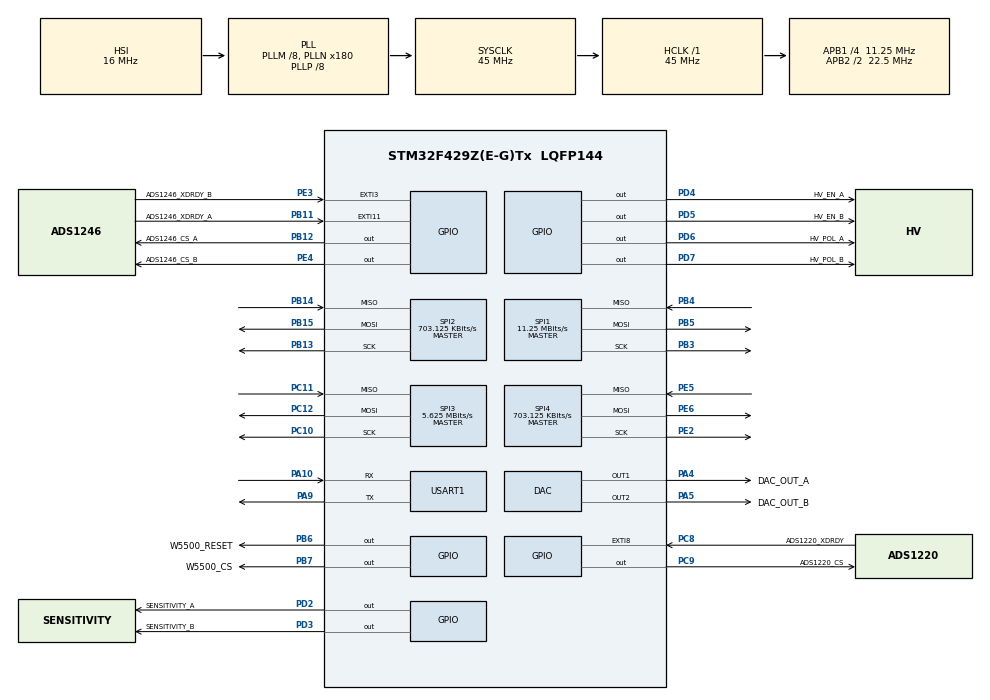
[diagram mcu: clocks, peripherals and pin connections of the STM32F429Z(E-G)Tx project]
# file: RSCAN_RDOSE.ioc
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Dma.Request0=SPI2_RX
Dma.Request1=SPI3_RX
Dma.Request2=SPI4_RX
Dma.Request3=SPI3_TX
Dma.Request4=SPI2_TX
Dma.Request5=SPI4_TX
Dma.SPI2_RX.0.Direction=DMA_PERIPH_TO_MEMORY
Dma.SPI2_RX.0.FIFOMode=DMA_FIFOMODE_DISABLE
Dma.SPI2_RX.0.Instance=DMA1_Stream3
Dma.SPI2_RX.0.MemDataAlignment=DMA_MDATAALIGN_BYTE
Dma.SPI2_RX.0.MemInc=DMA_MINC_ENABLE
Dma.SPI2_RX.0.Mode=DMA_NORMAL
Dma.SPI2_RX.0.PeriphDataAlignment=DMA_PDATAALIGN_BYTE
Dma.SPI2_RX.0.PeriphInc=DMA_PINC_DISABLE
Dma.SPI2_RX.0.Priority=DMA_PRIORITY_HIGH
Dma.SPI2_TX.4.Direction=DMA_MEMORY_TO_PERIPH
Dma.SPI2_TX.4.FIFOMode=DMA_FIFOMODE_DISABLE
Dma.SPI2_TX.4.Instance=DMA1_Stream4
Dma.SPI2_TX.4.MemDataAlignment=DMA_MDATAALIGN_BYTE
Dma.SPI2_TX.4.MemInc=DMA_MINC_ENABLE
Dma.SPI2_TX.4.Mode=DMA_NORMAL
Dma.SPI2_TX.4.PeriphDataAlignment=DMA_PDATAALIGN_BYTE
Dma.SPI2_TX.4.PeriphInc=DMA_PINC_DISABLE
Dma.SPI2_TX.4.Priority=DMA_PRIORITY_HIGH
Dma.SPI3_RX.1.Direction=DMA_PERIPH_TO_MEMORY
Dma.SPI3_RX.1.FIFOMode=DMA_FIFOMODE_DISABLE
Dma.SPI3_RX.1.Instance=DMA1_Stream0
Dma.SPI3_RX.1.MemDataAlignment=DMA_MDATAALIGN_BYTE
Dma.SPI3_RX.1.MemInc=DMA_MINC_ENABLE
Dma.SPI3_RX.1.Mode=DMA_NORMAL
Dma.SPI3_RX.1.PeriphDataAlignment=DMA_PDATAALIGN_BYTE
Dma.SPI3_RX.1.PeriphInc=DMA_PINC_DISABLE
Dma.SPI3_RX.1.Priority=DMA_PRIORITY_LOW
Dma.SPI3_TX.3.Direction=DMA_MEMORY_TO_PERIPH
Dma.SPI3_TX.3.FIFOMode=DMA_FIFOMODE_DISABLE
Dma.SPI3_TX.3.Instance=DMA1_Stream5
Dma.SPI3_TX.3.MemDataAlignment=DMA_MDATAALIGN_BYTE
Dma.SPI3_TX.3.MemInc=DMA_MINC_ENABLE
Dma.SPI3_TX.3.Mode=DMA_NORMAL
Dma.SPI3_TX.3.PeriphDataAlignment=DMA_PDATAALIGN_BYTE
Dma.SPI3_TX.3.PeriphInc=DMA_PINC_DISABLE
Dma.SPI3_TX.3.Priority=DMA_PRIORITY_LOW
Dma.SPI4_RX.2.Direction=DMA_PERIPH_TO_MEMORY
Dma.SPI4_RX.2.FIFOMode=DMA_FIFOMODE_DISABLE
Dma.SPI4_RX.2.Instance=DMA2_Stream0
Dma.SPI4_RX.2.MemDataAlignment=DMA_MDATAALIGN_BYTE
Dma.SPI4_RX.2.MemInc=DMA_MINC_ENABLE
Dma.SPI4_RX.2.Mode=DMA_NORMAL
Dma.SPI4_RX.2.PeriphDataAlignment=DMA_PDATAALIGN_BYTE
Dma.SPI4_RX.2.PeriphInc=DMA_PINC_DISABLE
Dma.SPI4_RX.2.Priority=DMA_PRIORITY_HIGH
Dma.SPI4_TX.5.Direction=DMA_MEMORY_TO_PERIPH
Dma.SPI4_TX.5.FIFOMode=DMA_FIFOMODE_DISABLE
Dma.SPI4_TX.5.Instance=DMA2_Stream1
Dma.SPI4_TX.5.MemDataAlignment=DMA_MDATAALIGN_BYTE
Dma.SPI4_TX.5.MemInc=DMA_MINC_ENABLE
Dma.SPI4_TX.5.Mode=DMA_NORMAL
Dma.SPI4_TX.5.PeriphDataAlignment=DMA_PDATAALIGN_BYTE
Dma.SPI4_TX.5.PeriphInc=DMA_PINC_DISABLE
Dma.SPI4_TX.5.Priority=DMA_PRIORITY_HIGH
FREERTOS.INCLUDE_vTaskDelayUntil=1
FREERTOS.Tasks01=defaultTask,0,1024,StartDefaultTask,Default,NULL,Dynamic,NULL,NULL;voltageTask,-1,1024,StartVoltageTask,Default,NULL,Dynamic,NULL,NULL
FREERTOS.configMINIMAL_STACK_SIZE=1024
FREERTOS.configUSE_NEWLIB_REENTRANT=1
Mcu.Family=STM32F4
Mcu.Name=STM32F429Z(E-G)Tx
Mcu.Package=LQFP144
NVIC.DMA1_Stream0_IRQn=true\:5\:0\:false\:false\:true\:true\:false\:true\:true
NVIC.DMA1_Stream3_IRQn=true\:5\:0\:false\:false\:true\:true\:false\:true\:true
NVIC.DMA1_Stream4_IRQn=true\:5\:0\:false\:false\:true\:true\:false\:true\:true
NVIC.DMA1_Stream5_IRQn=true\:5\:0\:false\:false\:true\:true\:false\:true\:true
NVIC.DMA2_Stream0_IRQn=true\:5\:0\:false\:false\:true\:true\:false\:true\:true
NVIC.DMA2_Stream1_IRQn=true\:5\:0\:false\:false\:true\:true\:false\:true\:true
NVIC.EXTI15_10_IRQn=true\:5\:0\:true\:false\:true\:true\:true\:true\:true
NVIC.EXTI3_IRQn=true\:5\:0\:true\:false\:true\:true\:true\:true\:true
NVIC.EXTI9_5_IRQn=true\:6\:0\:true\:false\:true\:true\:true\:true\:true
NVIC.PriorityGroup=NVIC_PRIORITYGROUP_4
NVIC.SPI2_IRQn=true\:5\:0\:true\:false\:true\:true\:true\:true\:true
NVIC.SPI3_IRQn=true\:5\:0\:false\:false\:true\:true\:true\:true\:true
NVIC.SPI4_IRQn=true\:5\:0\:true\:false\:true\:true\:true\:true\:true
NVIC.TIM1_UP_TIM10_IRQn=true\:15\:0\:false\:false\:true\:false\:false\:true\:true
NVIC.TimeBase=TIM1_UP_TIM10_IRQn
NVIC.TimeBaseIP=TIM1
NVIC.USART1_IRQn=true\:5\:0\:false\:false\:true\:true\:true\:true\:true
PA10.Mode=Asynchronous
PA10.Signal=USART1_RX
PA4.GPIO_Label=DAC_OUT_A
PA4.Signal=COMP_DAC1_group
PA5.GPIO_Label=DAC_OUT_B
PA5.Signal=COMP_DAC2_group
PA9.Mode=Asynchronous
PA9.Signal=USART1_TX
PB11.GPIO_Label=ADS1246_XDRDY_A
PB11.GPIO_ModeDefaultEXTI=GPIO_MODE_IT_FALLING
PB11.Signal=GPXTI11
PB12.GPIO_Label=ADS1246_CS_A
PB12.GPIO_PuPd=GPIO_PULLUP
PB12.GPIO_Speed=GPIO_SPEED_FREQ_HIGH
PB12.PinState=GPIO_PIN_SET
PB12.Signal=GPIO_Output
PB13.Mode=Full_Duplex_Master
PB13.Signal=SPI2_SCK
PB14.Mode=Full_Duplex_Master
PB14.Signal=SPI2_MISO
PB15.Mode=Full_Duplex_Master
PB15.Signal=SPI2_MOSI
PB3.Mode=Full_Duplex_Master
PB3.Signal=SPI1_SCK
PB4.Mode=Full_Duplex_Master
PB4.Signal=SPI1_MISO
PB5.Mode=Full_Duplex_Master
PB5.Signal=SPI1_MOSI
PB6.GPIO_Label=W5500_RESET
PB6.GPIO_ModeDefaultOutputPP=GPIO_MODE_OUTPUT_PP
PB6.GPIO_PuPd=GPIO_NOPULL
PB6.GPIO_Speed=GPIO_SPEED_FREQ_HIGH
PB6.PinState=GPIO_PIN_RESET
PB6.Signal=GPIO_Output
PB7.GPIO_Label=W5500_CS
PB7.GPIO_PuPd=GPIO_NOPULL
PB7.GPIO_Speed=GPIO_SPEED_FREQ_HIGH
PB7.PinState=GPIO_PIN_SET
PB7.Signal=GPIO_Output
PC10.Mode=Full_Duplex_Master
PC10.Signal=SPI3_SCK
PC11.Mode=Full_Duplex_Master
PC11.Signal=SPI3_MISO
PC12.Mode=Full_Duplex_Master
PC12.Signal=SPI3_MOSI
PC8.GPIO_Label=ADS1220_XDRDY
PC8.GPIO_ModeDefaultEXTI=GPIO_MODE_IT_FALLING
PC8.Signal=GPXTI8
PC9.GPIO_Label=ADS1220_CS
PC9.GPIO_PuPd=GPIO_PULLUP
PC9.GPIO_Speed=GPIO_SPEED_FREQ_HIGH
PC9.PinState=GPIO_PIN_SET
PC9.Signal=GPIO_Output
PD2.GPIO_Label=SENSITIVITY_A
PD2.GPIO_Speed=GPIO_SPEED_FREQ_HIGH
PD2.Signal=GPIO_Output
PD3.GPIO_Label=SENSITIVITY_B
PD3.GPIO_Speed=GPIO_SPEED_FREQ_HIGH
PD3.Signal=GPIO_Output
PD4.GPIO_Label=HV_EN_A
PD4.GPIO_Speed=GPIO_SPEED_FREQ_HIGH
PD4.Signal=GPIO_Output
PD5.GPIO_Label=HV_EN_B
PD5.GPIO_Speed=GPIO_SPEED_FREQ_HIGH
PD5.Signal=GPIO_Output
PD6.GPIO_Label=HV_POL_A
PD6.GPIO_Speed=GPIO_SPEED_FREQ_HIGH
PD6.PinState=GPIO_PIN_SET
PD6.Signal=GPIO_Output
PD7.GPIO_Label=HV_POL_B
PD7.GPIO_Speed=GPIO_SPEED_FREQ_HIGH
PD7.PinState=GPIO_PIN_SET
PD7.Signal=GPIO_Output
PE2.Mode=Full_Duplex_Master
PE2.Signal=SPI4_SCK
PE3.GPIO_Label=ADS1246_XDRDY_B
PE3.GPIO_ModeDefaultEXTI=GPIO_MODE_IT_FALLING
PE3.Signal=GPXTI3
PE4.GPIO_Label=ADS1246_CS_B
PE4.GPIO_PuPd=GPIO_PULLUP
PE4.GPIO_Speed=GPIO_SPEED_FREQ_HIGH
PE4.PinState=GPIO_PIN_SET
PE4.Signal=GPIO_Output
PE5.Mode=Full_Duplex_Master
PE5.Signal=SPI4_MISO
PE6.Mode=Full_Duplex_Master
PE6.Signal=SPI4_MOSI
ProjectManager.HeapSize=0x200
ProjectManager.StackSize=0x400
ProjectManager.TargetToolchain=STM32CubeIDE
RCC.48MHZClocksFreq_Value=90000000
RCC.AHBFreq_Value=45000000
RCC.APB1CLKDivider=RCC_HCLK_DIV4
RCC.APB1Freq_Value=11250000
RCC.APB1TimFreq_Value=22500000
RCC.APB2CLKDivider=RCC_HCLK_DIV2
RCC.APB2Freq_Value=22500000
RCC.APB2TimFreq_Value=45000000
RCC.CortexFreq_Value=45000000
RCC.HCLKFreq_Value=45000000
RCC.HSE_VALUE=25000000
RCC.HSI_VALUE=16000000
RCC.LSE_VALUE=32768
RCC.PLLM=8
RCC.PLLN=180
RCC.PLLP=RCC_PLLP_DIV8
RCC.SYSCLKFreq_VALUE=45000000
RCC.SYSCLKSource=RCC_SYSCLKSOURCE_PLLCLK
RCC.VCOOutputFreq_Value=360000000
SH.COMP_DAC1_group.0=DAC_OUT1,DAC_OUT1
SH.COMP_DAC2_group.0=DAC_OUT2,DAC_OUT2
SPI1.BaudRatePrescaler=SPI_BAUDRATEPRESCALER_2
SPI1.CalculateBaudRate=11.25 MBits/s
SPI1.Direction=SPI_DIRECTION_2LINES
SPI1.Mode=SPI_MODE_MASTER
SPI1.VirtualType=VM_MASTER
SPI2.BaudRatePrescaler=SPI_BAUDRATEPRESCALER_16
SPI2.CLKPhase=SPI_PHASE_2EDGE
SPI2.CLKPolarity=SPI_POLARITY_LOW
SPI2.CalculateBaudRate=703.125 KBits/s
SPI2.Direction=SPI_DIRECTION_2LINES
SPI2.Mode=SPI_MODE_MASTER
SPI2.VirtualType=VM_MASTER
SPI3.BaudRatePrescaler=SPI_BAUDRATEPRESCALER_2
SPI3.CLKPhase=SPI_PHASE_2EDGE
SPI3.CLKPolarity=SPI_POLARITY_LOW
SPI3.CalculateBaudRate=5.625 MBits/s
SPI3.Direction=SPI_DIRECTION_2LINES
SPI3.Mode=SPI_MODE_MASTER
SPI3.VirtualType=VM_MASTER
SPI4.BaudRatePrescaler=SPI_BAUDRATEPRESCALER_32
SPI4.CLKPhase=SPI_PHASE_2EDGE
SPI4.CLKPolarity=SPI_POLARITY_LOW
SPI4.CalculateBaudRate=703.125 KBits/s
SPI4.Direction=SPI_DIRECTION_2LINES
SPI4.Mode=SPI_MODE_MASTER
SPI4.VirtualType=VM_MASTER
USART1.VirtualMode=VM_ASYNC
VP_FREERTOS_VS_CMSIS_V1.Mode=CMSIS_V1
VP_SYS_VS_tim1.Mode=TIM1
board=custom

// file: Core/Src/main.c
/* USER CODE BEGIN Header */
/**
  ******************************************************************************
  * @file           : main.c
  * @brief          : Main program body
  ******************************************************************************
  * @attention
  *
  * Copyright (c) 2026 STMicroelectronics.
  * All rights reserved.
  *
  * This software is licensed under terms that can be found in the LICENSE file
  * in the root directory of this software component.
  * If no LICENSE file comes with this software, it is provided AS-IS.
  *
  ******************************************************************************
  */
/* USER CODE END Header */
#include "main.h"
#include "cmsis_os.h"

/* USER CODE BEGIN Includes */
#include "w5500_task.h"
#include "hv_task.h"
#include "signal_task.h"
#include "uart_rx_handler.h"
/* USER CODE END Includes */

/* USER CODE BEGIN PTD */

// todo
// 1) w5500 and ads1246 sync
// 2) ads1246 dma???
// 3) uart модуль дописать и отладить (как в RSCAN 1DWT)

/* USER CODE END PTD */

DAC_HandleTypeDef hdac;

SPI_HandleTypeDef hspi1;
SPI_HandleTypeDef hspi2;
SPI_HandleTypeDef hspi3;
SPI_HandleTypeDef hspi4;
DMA_HandleTypeDef hdma_spi2_rx;
DMA_HandleTypeDef hdma_spi2_tx;
DMA_HandleTypeDef hdma_spi3_rx;
DMA_HandleTypeDef hdma_spi3_tx;
DMA_HandleTypeDef hdma_spi4_rx;
DMA_HandleTypeDef hdma_spi4_tx;

UART_HandleTypeDef huart1;

osThreadId defaultTaskHandle;
osThreadId voltageTaskHandle;

void SystemClock_Config(void);
static void MX_GPIO_Init(void);
static void MX_DMA_Init(void);
static void MX_DAC_Init(void);
static void MX_SPI1_Init(void);
static void MX_SPI2_Init(void);
static void MX_SPI3_Init(void);
static void MX_SPI4_Init(void);
static void MX_USART1_UART_Init(void);
void StartDefaultTask(void const * argument);
void StartVoltageTask(void const * argument);

/* USER CODE BEGIN PFP */
void HAL_GPIO_EXTI_Callback(uint16_t GPIO_Pin)
{
	hv_adc_xdrdy_callback(GPIO_Pin);
	signal_adc_xdrdy_callback(GPIO_Pin);
}

void HAL_SPI_TxRxCpltCallback(SPI_HandleTypeDef *hspi)
{
	signal_adc_spi_dma_callback(hspi);
}
/* USER CODE END PFP */

int main(void)
{

  /* MCU Configuration--------------------------------------------------------*/

  /* Reset of all peripherals, Initializes the Flash interface and the Systick. */
  HAL_Init();

  /* Configure the system clock */
  SystemClock_Config();

  /* Initialize all configured peripherals */
  MX_GPIO_Init();
  MX_DMA_Init();
  MX_DAC_Init();
  MX_SPI1_Init();
  MX_SPI2_Init();
  MX_SPI3_Init();
  MX_SPI4_Init();
  MX_USART1_UART_Init();

  /* Create the thread(s) */
  /* definition and creation of defaultTask */
  osThreadDef(defaultTask, StartDefaultTask, osPriorityNormal, 0, 1024);
  defaultTaskHandle = osThreadCreate(osThread(defaultTask), NULL);

  /* definition and creation of voltageTask */
  osThreadDef(voltageTask, StartVoltageTask, osPriorityBelowNormal, 0, 1024);
  voltageTaskHandle = osThreadCreate(osThread(voltageTask), NULL);

  /* Start scheduler */
  osKernelStart();

  /* We should never get here as control is now taken by the scheduler */
  /* Infinite loop */
  while (1)
  {

  }
}

void SystemClock_Config(void)
{
  RCC_OscInitTypeDef RCC_OscInitStruct = {0};
  RCC_ClkInitTypeDef RCC_ClkInitStruct = {0};

  /** Configure the main internal regulator output voltage
  */
  __HAL_RCC_PWR_CLK_ENABLE();
  __HAL_PWR_VOLTAGESCALING_CONFIG(PWR_REGULATOR_VOLTAGE_SCALE3);

  /** Initializes the RCC Oscillators according to the specified parameters
  * in the RCC_OscInitTypeDef structure.
  */
  RCC_OscInitStruct.OscillatorType = RCC_OSCILLATORTYPE_HSI;
  RCC_OscInitStruct.HSIState = RCC_HSI_ON;
  RCC_OscInitStruct.HSICalibrationValue = RCC_HSICALIBRATION_DEFAULT;
  RCC_OscInitStruct.PLL.PLLState = RCC_PLL_ON;
  RCC_OscInitStruct.PLL.PLLSource = RCC_PLLSOURCE_HSI;
  RCC_OscInitStruct.PLL.PLLM = 8;
  RCC_OscInitStruct.PLL.PLLN = 180;
  RCC_OscInitStruct.PLL.PLLP = RCC_PLLP_DIV8;
  RCC_OscInitStruct.PLL.PLLQ = 4;
  if (HAL_RCC_OscConfig(&RCC_OscInitStruct) != HAL_OK)
  {
    Error_Handler();
  }

  /** Initializes the CPU, AHB and APB buses clocks
  */
  RCC_ClkInitStruct.ClockType = RCC_CLOCKTYPE_HCLK|RCC_CLOCKTYPE_SYSCLK
                              |RCC_CLOCKTYPE_PCLK1|RCC_CLOCKTYPE_PCLK2;
  RCC_ClkInitStruct.SYSCLKSource = RCC_SYSCLKSOURCE_PLLCLK;
  RCC_ClkInitStruct.AHBCLKDivider = RCC_SYSCLK_DIV1;
  RCC_ClkInitStruct.APB1CLKDivider = RCC_HCLK_DIV4;
  RCC_ClkInitStruct.APB2CLKDivider = RCC_HCLK_DIV2;

  if (HAL_RCC_ClockConfig(&RCC_ClkInitStruct, FLASH_LATENCY_1) != HAL_OK)
  {
    Error_Handler();
  }
}

static void MX_DAC_Init(void)
{

  DAC_ChannelConfTypeDef sConfig = {0};

  /** DAC Initialization
  */
  hdac.Instance = DAC;
  if (HAL_DAC_Init(&hdac) != HAL_OK)
  {
    Error_Handler();
  }

  /** DAC channel OUT1 config
  */
  sConfig.DAC_Trigger = DAC_TRIGGER_NONE;
  sConfig.DAC_OutputBuffer = DAC_OUTPUTBUFFER_ENABLE;
  if (HAL_DAC_ConfigChannel(&hdac, &sConfig, DAC_CHANNEL_1) != HAL_OK)
  {
    Error_Handler();
  }

  /** DAC channel OUT2 config
  */
  if (HAL_DAC_ConfigChannel(&hdac, &sConfig, DAC_CHANNEL_2) != HAL_OK)
  {
    Error_Handler();
  }

}

static void MX_SPI1_Init(void)
{

  /* SPI1 parameter configuration*/
  hspi1.Instance = SPI1;
  hspi1.Init.Mode = SPI_MODE_MASTER;
  hspi1.Init.Direction = SPI_DIRECTION_2LINES;
  hspi1.Init.DataSize = SPI_DATASIZE_8BIT;
  hspi1.Init.CLKPolarity = SPI_POLARITY_LOW;
  hspi1.Init.CLKPhase = SPI_PHASE_1EDGE;
  hspi1.Init.NSS = SPI_NSS_SOFT;
  hspi1.Init.BaudRatePrescaler = SPI_BAUDRATEPRESCALER_2;
  hspi1.Init.FirstBit = SPI_FIRSTBIT_MSB;
  hspi1.Init.TIMode = SPI_TIMODE_DISABLE;
  hspi1.Init.CRCCalculation = SPI_CRCCALCULATION_DISABLE;
  hspi1.Init.CRCPolynomial = 10;
  if (HAL_SPI_Init(&hspi1) != HAL_OK)
  {
    Error_Handler();
  }

}

static void MX_SPI2_Init(void)
{

  /* SPI2 parameter configuration*/
  hspi2.Instance = SPI2;
  hspi2.Init.Mode = SPI_MODE_MASTER;
  hspi2.Init.Direction = SPI_DIRECTION_2LINES;
  hspi2.Init.DataSize = SPI_DATASIZE_8BIT;
  hspi2.Init.CLKPolarity = SPI_POLARITY_LOW;
  hspi2.Init.CLKPhase = SPI_PHASE_2EDGE;
  hspi2.Init.NSS = SPI_NSS_SOFT;
  hspi2.Init.BaudRatePrescaler = SPI_BAUDRATEPRESCALER_16;
  hspi2.Init.FirstBit = SPI_FIRSTBIT_MSB;
  hspi2.Init.TIMode = SPI_TIMODE_DISABLE;
  hspi2.Init.CRCCalculation = SPI_CRCCALCULATION_DISABLE;
  hspi2.Init.CRCPolynomial = 10;
  if (HAL_SPI_Init(&hspi2) != HAL_OK)
  {
    Error_Handler();
  }

}

static void MX_SPI3_Init(void)
{

  /* SPI3 parameter configuration*/
  hspi3.Instance = SPI3;
  hspi3.Init.Mode = SPI_MODE_MASTER;
  hspi3.Init.Direction = SPI_DIRECTION_2LINES;
  hspi3.Init.DataSize = SPI_DATASIZE_8BIT;
  hspi3.Init.CLKPolarity = SPI_POLARITY_LOW;
  hspi3.Init.CLKPhase = SPI_PHASE_2EDGE;
  hspi3.Init.NSS = SPI_NSS_SOFT;
  hspi3.Init.BaudRatePrescaler = SPI_BAUDRATEPRESCALER_2;
  hspi3.Init.FirstBit = SPI_FIRSTBIT_MSB;
  hspi3.Init.TIMode = SPI_TIMODE_DISABLE;
  hspi3.Init.CRCCalculation = SPI_CRCCALCULATION_DISABLE;
  hspi3.Init.CRCPolynomial = 10;
  if (HAL_SPI_Init(&hspi3) != HAL_OK)
  {
    Error_Handler();
  }

}

static void MX_SPI4_Init(void)
{

  /* SPI4 parameter configuration*/
  hspi4.Instance = SPI4;
  hspi4.Init.Mode = SPI_MODE_MASTER;
  hspi4.Init.Direction = SPI_DIRECTION_2LINES;
  hspi4.Init.DataSize = SPI_DATASIZE_8BIT;
  hspi4.Init.CLKPolarity = SPI_POLARITY_LOW;
  hspi4.Init.CLKPhase = SPI_PHASE_2EDGE;
  hspi4.Init.NSS = SPI_NSS_SOFT;
  hspi4.Init.BaudRatePrescaler = SPI_BAUDRATEPRESCALER_32;
  hspi4.Init.FirstBit = SPI_FIRSTBIT_MSB;
  hspi4.Init.TIMode = SPI_TIMODE_DISABLE;
  hspi4.Init.CRCCalculation = SPI_CRCCALCULATION_DISABLE;
  hspi4.Init.CRCPolynomial = 10;
  if (HAL_SPI_Init(&hspi4) != HAL_OK)
  {
    Error_Handler();
  }

}

static void MX_USART1_UART_Init(void)
{

  huart1.Instance = USART1;
  huart1.Init.BaudRate = 115200;
  huart1.Init.WordLength = UART_WORDLENGTH_8B;
  huart1.Init.StopBits = UART_STOPBITS_1;
  huart1.Init.Parity = UART_PARITY_NONE;
  huart1.Init.Mode = UART_MODE_TX_RX;
  huart1.Init.HwFlowCtl = UART_HWCONTROL_NONE;
  huart1.Init.OverSampling = UART_OVERSAMPLING_16;
  if (HAL_UART_Init(&huart1) != HAL_OK)
  {
    Error_Handler();
  }

}

static void MX_DMA_Init(void)
{

  /* DMA controller clock enable */
  __HAL_RCC_DMA1_CLK_ENABLE();
  __HAL_RCC_DMA2_CLK_ENABLE();

  /* DMA interrupt init */
  /* DMA1_Stream0_IRQn interrupt configuration */
  HAL_NVIC_SetPriority(DMA1_Stream0_IRQn, 5, 0);
  HAL_NVIC_EnableIRQ(DMA1_Stream0_IRQn);
  /* DMA1_Stream3_IRQn interrupt configuration */
  HAL_NVIC_SetPriority(DMA1_Stream3_IRQn, 5, 0);
  HAL_NVIC_EnableIRQ(DMA1_Stream3_IRQn);
  /* DMA1_Stream4_IRQn interrupt configuration */
  HAL_NVIC_SetPriority(DMA1_Stream4_IRQn, 5, 0);
  HAL_NVIC_EnableIRQ(DMA1_Stream4_IRQn);
  /* DMA1_Stream5_IRQn interrupt configuration */
  HAL_NVIC_SetPriority(DMA1_Stream5_IRQn, 5, 0);
  HAL_NVIC_EnableIRQ(DMA1_Stream5_IRQn);
  /* DMA2_Stream0_IRQn interrupt configuration */
  HAL_NVIC_SetPriority(DMA2_Stream0_IRQn, 5, 0);
  HAL_NVIC_EnableIRQ(DMA2_Stream0_IRQn);
  /* DMA2_Stream1_IRQn interrupt configuration */
  HAL_NVIC_SetPriority(DMA2_Stream1_IRQn, 5, 0);
  HAL_NVIC_EnableIRQ(DMA2_Stream1_IRQn);

}

static void MX_GPIO_Init(void)
{
  GPIO_InitTypeDef GPIO_InitStruct = {0};

  /* GPIO Ports Clock Enable */
  __HAL_RCC_GPIOE_CLK_ENABLE();
  __HAL_RCC_GPIOA_CLK_ENABLE();
  __HAL_RCC_GPIOB_CLK_ENABLE();
  __HAL_RCC_GPIOC_CLK_ENABLE();
  __HAL_RCC_GPIOD_CLK_ENABLE();

  /*Configure GPIO pin Output Level */
  HAL_GPIO_WritePin(ADS1246_CS_B_GPIO_Port, ADS1246_CS_B_Pin, GPIO_PIN_SET);

  /*Configure GPIO pin Output Level */
  HAL_GPIO_WritePin(GPIOB, ADS1246_CS_A_Pin|W5500_CS_Pin, GPIO_PIN_SET);

  /*Configure GPIO pin Output Level */
  HAL_GPIO_WritePin(ADS1220_CS_GPIO_Port, ADS1220_CS_Pin, GPIO_PIN_SET);

  /*Configure GPIO pin Output Level */
  HAL_GPIO_WritePin(GPIOD, SENSITIVITY_A_Pin|SENSITIVITY_B_Pin|HV_EN_A_Pin|HV_EN_B_Pin, GPIO_PIN_RESET);

  /*Configure GPIO pin Output Level */
  HAL_GPIO_WritePin(GPIOD, HV_POL_A_Pin|HV_POL_B_Pin, GPIO_PIN_SET);

  /*Configure GPIO pin Output Level */
  HAL_GPIO_WritePin(W5500_RESET_GPIO_Port, W5500_RESET_Pin, GPIO_PIN_RESET);

  /*Configure GPIO pin : ADS1246_XDRDY_B_Pin */
  GPIO_InitStruct.Pin = ADS1246_XDRDY_B_Pin;
  GPIO_InitStruct.Mode = GPIO_MODE_IT_FALLING;
  GPIO_InitStruct.Pull = GPIO_NOPULL;
  HAL_GPIO_Init(ADS1246_XDRDY_B_GPIO_Port, &GPIO_InitStruct);

  /*Configure GPIO pin : ADS1246_CS_B_Pin */
  GPIO_InitStruct.Pin = ADS1246_CS_B_Pin;
  GPIO_InitStruct.Mode = GPIO_MODE_OUTPUT_PP;
  GPIO_InitStruct.Pull = GPIO_PULLUP;
  GPIO_InitStruct.Speed = GPIO_SPEED_FREQ_HIGH;
  HAL_GPIO_Init(ADS1246_CS_B_GPIO_Port, &GPIO_InitStruct);

  /*Configure GPIO pin : ADS1246_XDRDY_A_Pin */
  GPIO_InitStruct.Pin = ADS1246_XDRDY_A_Pin;
  GPIO_InitStruct.Mode = GPIO_MODE_IT_FALLING;
  GPIO_InitStruct.Pull = GPIO_NOPULL;
  HAL_GPIO_Init(ADS1246_XDRDY_A_GPIO_Port, &GPIO_InitStruct);

  /*Configure GPIO pin : ADS1246_CS_A_Pin */
  GPIO_InitStruct.Pin = ADS1246_CS_A_Pin;
  GPIO_InitStruct.Mode = GPIO_MODE_OUTPUT_PP;
  GPIO_InitStruct.Pull = GPIO_PULLUP;
  GPIO_InitStruct.Speed = GPIO_SPEED_FREQ_HIGH;
  HAL_GPIO_Init(ADS1246_CS_A_GPIO_Port, &GPIO_InitStruct);

  /*Configure GPIO pin : ADS1220_XDRDY_Pin */
  GPIO_InitStruct.Pin = ADS1220_XDRDY_Pin;
  GPIO_InitStruct.Mode = GPIO_MODE_IT_FALLING;
  GPIO_InitStruct.Pull = GPIO_NOPULL;
  HAL_GPIO_Init(ADS1220_XDRDY_GPIO_Port, &GPIO_InitStruct);

  /*Configure GPIO pin : ADS1220_CS_Pin */
  GPIO_InitStruct.Pin = ADS1220_CS_Pin;
  GPIO_InitStruct.Mode = GPIO_MODE_OUTPUT_PP;
  GPIO_InitStruct.Pull = GPIO_PULLUP;
  GPIO_InitStruct.Speed = GPIO_SPEED_FREQ_HIGH;
  HAL_GPIO_Init(ADS1220_CS_GPIO_Port, &GPIO_InitStruct);

  /*Configure GPIO pins : SENSITIVITY_A_Pin SENSITIVITY_B_Pin HV_EN_A_Pin HV_EN_B_Pin
                           HV_POL_A_Pin HV_POL_B_Pin */
  GPIO_InitStruct.Pin = SENSITIVITY_A_Pin|SENSITIVITY_B_Pin|HV_EN_A_Pin|HV_EN_B_Pin
                          |HV_POL_A_Pin|HV_POL_B_Pin;
  GPIO_InitStruct.Mode = GPIO_MODE_OUTPUT_PP;
  GPIO_InitStruct.Pull = GPIO_NOPULL;
  GPIO_InitStruct.Speed = GPIO_SPEED_FREQ_HIGH;
  HAL_GPIO_Init(GPIOD, &GPIO_InitStruct);

  /*Configure GPIO pins : W5500_RESET_Pin W5500_CS_Pin */
  GPIO_InitStruct.Pin = W5500_RESET_Pin|W5500_CS_Pin;
  GPIO_InitStruct.Mode = GPIO_MODE_OUTPUT_PP;
  GPIO_InitStruct.Pull = GPIO_NOPULL;
  GPIO_InitStruct.Speed = GPIO_SPEED_FREQ_HIGH;
  HAL_GPIO_Init(GPIOB, &GPIO_InitStruct);

  /* EXTI interrupt init*/
  HAL_NVIC_SetPriority(EXTI3_IRQn, 5, 0);
  HAL_NVIC_EnableIRQ(EXTI3_IRQn);

  HAL_NVIC_SetPriority(EXTI9_5_IRQn, 6, 0);
  HAL_NVIC_EnableIRQ(EXTI9_5_IRQn);

  HAL_NVIC_SetPriority(EXTI15_10_IRQn, 5, 0);
  HAL_NVIC_EnableIRQ(EXTI15_10_IRQn);

/* USER CODE BEGIN MX_GPIO_Init_2 */
  HAL_NVIC_DisableIRQ(ADS1246_XDRDY_A_EXTI_IRQn);
  HAL_NVIC_DisableIRQ(ADS1246_XDRDY_B_EXTI_IRQn);
  HAL_NVIC_DisableIRQ(ADS1220_XDRDY_EXTI_IRQn);
/* USER CODE END MX_GPIO_Init_2 */
}

void StartDefaultTask(void const * argument)
{
  /* USER CODE BEGIN 5 */
  /* Infinite loop */
	signal_task_init();
	//hv_task_init();
	uart_handle_receive();
	w5500_task_init();
	for(;;)
	{
		w5500_task_loop();
	}
  /* USER CODE END 5 */
}

void StartVoltageTask(void const * argument)
{
  /* USER CODE BEGIN StartVoltageTask */
	/* Infinite loop */
	int updatePeriod_ms = 100;
	hv_task_init(updatePeriod_ms);
	for(;;)
	{
		hv_correction_tick();
		osDelay(updatePeriod_ms);
	}
  /* USER CODE END StartVoltageTask */
}

void HAL_TIM_PeriodElapsedCallback(TIM_HandleTypeDef *htim)
{
  if (htim->Instance == TIM1) {
    HAL_IncTick();
  }
}

void Error_Handler(void)
{
  __disable_irq();
  while (1)
  {
  }
}
